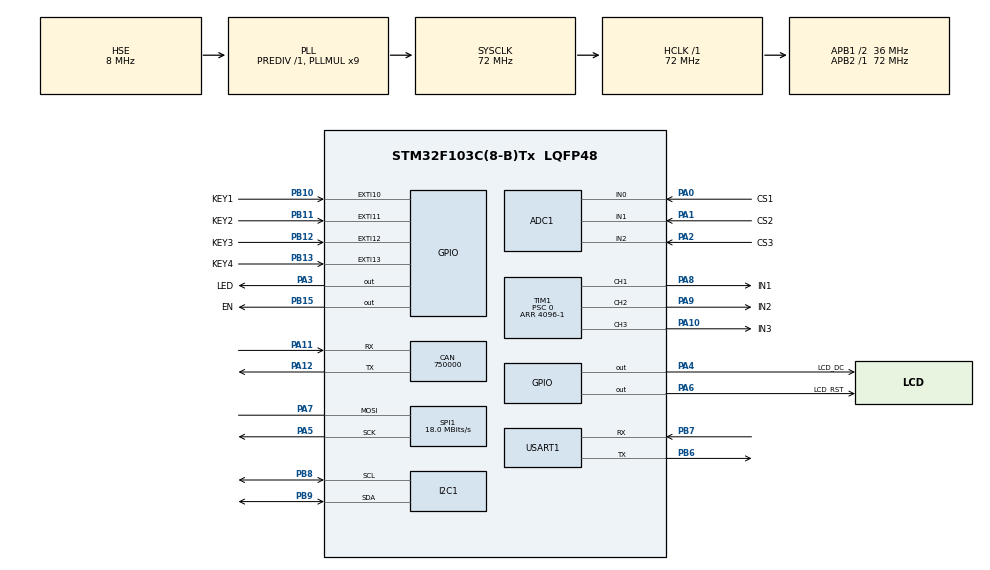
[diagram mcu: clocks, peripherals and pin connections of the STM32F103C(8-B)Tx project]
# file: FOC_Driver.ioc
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ADC1.Channel-0\#ChannelRegularConversion=ADC_CHANNEL_1
ADC1.NbrOfConversionFlag=1
ADC1.Rank-0\#ChannelRegularConversion=1
ADC1.SamplingTime-0\#ChannelRegularConversion=ADC_SAMPLETIME_1CYCLE_5
ADC1.master=1
CAN.CalculateBaudRate=750000
CAN.CalculateTimeBit=1333.33
CAN.CalculateTimeQuantum=444.44444444444446
Mcu.Family=STM32F1
Mcu.Name=STM32F103C(8-B)Tx
Mcu.Package=LQFP48
NVIC.PriorityGroup=NVIC_PRIORITYGROUP_4
PA0-WKUP.GPIO_Label=CS1
PA0-WKUP.Signal=ADCx_IN0
PA1.GPIO_Label=CS2
PA1.Signal=ADCx_IN1
PA10.GPIO_Label=IN3
PA10.Signal=S_TIM1_CH3
PA11.Mode=CAN_Activate
PA11.Signal=CAN_RX
PA12.Mode=CAN_Activate
PA12.Signal=CAN_TX
PA13.Mode=Serial_Wire
PA13.Signal=SYS_JTMS-SWDIO
PA14.Mode=Serial_Wire
PA14.Signal=SYS_JTCK-SWCLK
PA2.GPIO_Label=CS3
PA2.Signal=ADCx_IN2
PA3.GPIO_Label=LED
PA3.Signal=GPIO_Output
PA4.GPIO_Label=LCD_DC
PA4.Signal=GPIO_Output
PA5.Mode=Simplex_Bidirectional_Master
PA5.Signal=SPI1_SCK
PA6.GPIO_Label=LCD_RST
PA6.Signal=GPIO_Output
PA7.Mode=Simplex_Bidirectional_Master
PA7.Signal=SPI1_MOSI
PA8.GPIO_Label=IN1
PA8.Signal=S_TIM1_CH1
PA9.GPIO_Label=IN2
PA9.Signal=S_TIM1_CH2
PB10.GPIO_Label=KEY1
PB10.GPIO_ModeDefaultEXTI=GPIO_MODE_IT_FALLING
PB10.Signal=GPXTI10
PB11.GPIO_Label=KEY2
PB11.GPIO_ModeDefaultEXTI=GPIO_MODE_IT_FALLING
PB11.Signal=GPXTI11
PB12.GPIO_Label=KEY3
PB12.GPIO_ModeDefaultEXTI=GPIO_MODE_IT_FALLING
PB12.Signal=GPXTI12
PB13.GPIO_Label=KEY4
PB13.GPIO_ModeDefaultEXTI=GPIO_MODE_IT_FALLING
PB13.Signal=GPXTI13
PB15.GPIO_Label=EN
PB15.PinState=GPIO_PIN_SET
PB15.Signal=GPIO_Output
PB6.Mode=Asynchronous
PB6.Signal=USART1_TX
PB7.Mode=Asynchronous
PB7.Signal=USART1_RX
PB8.Mode=I2C
PB8.Signal=I2C1_SCL
PB9.Mode=I2C
PB9.Signal=I2C1_SDA
PD0-OSC_IN.Mode=HSE-External-Oscillator
PD0-OSC_IN.Signal=RCC_OSC_IN
PD1-OSC_OUT.Mode=HSE-External-Oscillator
PD1-OSC_OUT.Signal=RCC_OSC_OUT
ProjectManager.HeapSize=0x200
ProjectManager.StackSize=0x400
ProjectManager.TargetToolchain=SW4STM32
RCC.ADCPresc=RCC_ADCPCLK2_DIV6
RCC.AHBFreq_Value=72000000
RCC.APB1CLKDivider=RCC_HCLK_DIV2
RCC.APB1Freq_Value=36000000
RCC.APB1TimFreq_Value=72000000
RCC.APB2Freq_Value=72000000
RCC.APB2TimFreq_Value=72000000
RCC.HCLKFreq_Value=72000000
RCC.PLLMUL=RCC_PLL_MUL9
RCC.PLLSourceVirtual=RCC_PLLSOURCE_HSE
RCC.SYSCLKFreq_VALUE=72000000
RCC.SYSCLKSource=RCC_SYSCLKSOURCE_PLLCLK
RCC.USBFreq_Value=72000000
SH.ADCx_IN0.0=ADC1_IN0,IN0
SH.ADCx_IN1.0=ADC1_IN1,IN1
SH.ADCx_IN2.0=ADC1_IN2,IN2
SH.S_TIM1_CH1.0=TIM1_CH1,PWM Generation1 CH1
SH.S_TIM1_CH2.0=TIM1_CH2,PWM Generation2 CH2
SH.S_TIM1_CH3.0=TIM1_CH3,PWM Generation3 CH3
SPI1.BaudRatePrescaler=SPI_BAUDRATEPRESCALER_4
SPI1.CalculateBaudRate=18.0 MBits/s
SPI1.Direction=SPI_DIRECTION_1LINE
SPI1.Mode=SPI_MODE_MASTER
SPI1.VirtualType=VM_MASTER
TIM1.AutoReloadPreload=TIM_AUTORELOAD_PRELOAD_ENABLE
TIM1.Channel-PWM\ Generation1\ CH1=TIM_CHANNEL_1
TIM1.Channel-PWM\ Generation2\ CH2=TIM_CHANNEL_2
TIM1.Channel-PWM\ Generation3\ CH3=TIM_CHANNEL_3
TIM1.CounterMode=TIM_COUNTERMODE_CENTERALIGNED1
TIM1.Period=4096-1
TIM1.Prescaler=0
USART1.VirtualMode=VM_ASYNC
VP_TIM1_VS_ClockSourceINT.Mode=Internal
board=custom

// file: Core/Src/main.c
/* USER CODE BEGIN Header */
/**
  ******************************************************************************
  * @file           : main.c
  * @brief          : Main program body
  ******************************************************************************
  * @attention
  *
  * <h2><center>&copy; Copyright (c) 2022 STMicroelectronics.
  * All rights reserved.</center></h2>
  *
  * This software component is licensed by ST under BSD 3-Clause license,
  * the "License"; You may not use this file except in compliance with the
  * License. You may obtain a copy of the License at:
  *                        opensource.org/licenses/BSD-3-Clause
  *
  ******************************************************************************
  */
/* USER CODE END Header */
#include "main.h"
#include "adc.h"
#include "can.h"
#include "i2c.h"
#include "spi.h"
#include "tim.h"
#include "usart.h"
#include "gpio.h"

/* USER CODE BEGIN Includes */
#include <stdio.h>
#include <string.h>
#include <stdlib.h>

#include "FOC.h"
#include "FOC_utils.h"
#include "stm32_mcu.h"
#include "retarget.h"

#include "st7735.h"
#include "fonts.h"
#include "image.h"
/* USER CODE END Includes */

void SystemClock_Config(void);

int main(void)
{

  /* MCU Configuration--------------------------------------------------------*/

  /* Reset of all peripherals, Initializes the Flash interface and the Systick. */
  HAL_Init();

  /* Configure the system clock */
  SystemClock_Config();

  /* Initialize all configured peripherals */
  MX_GPIO_Init();
  MX_CAN_Init();
  MX_I2C1_Init();
  MX_USART1_UART_Init();
  MX_TIM1_Init();
  MX_ADC1_Init();
  MX_SPI1_Init();
  /* USER CODE BEGIN 2 */
    RetargetInit(&huart1);
    FOC_init();
    ST7735_Init();

    ST7735_FillScreen(ST7735_WHITE);
    ST7735_DrawImage(0, 0, ST7735_HEIGHT, ST7735_HEIGHT, (uint16_t*)head_portrait_80x80);
    ST7735_WriteString(80, 0, "ZHT", Font_11x18, ST7735_BLUE, ST7735_BLACK);
    ST7735_WriteString(80, 18, "Hello!", Font_11x18, ST7735_BLUE, ST7735_BLACK);

  /* USER CODE END 2 */

  /* Infinite loop */
  /* USER CODE BEGIN WHILE */
    while (1) {
        for (float angle = 0; angle < _2PI; angle += 0.05) {
            FOC_SVPWM(0, 2, angle);
            printf("Angle:%.2f\n", angle);

            char display_string[20];
            char display_number[10];
            strcpy(display_string, "Angle:");
//            strcat(display_string, itoa((int)angle, display_number, 10));
//            strcat(display_string, "\n");

//            ST7735_WriteString(80, 36, "123", Font_11x18, ST7735_BLUE, ST7735_BLACK);
            HAL_Delay(1);
        }
//        _writeDutyCycle3PWM(1, 0, 0);
//        HAL_Delay(500);
//        _writeDutyCycle3PWM(1, 1, 0);
//        HAL_Delay(500);
//        _writeDutyCycle3PWM(0, 1, 0);
//        HAL_Delay(500);
//        _writeDutyCycle3PWM(0, 1, 1);
//        HAL_Delay(500);
//        _writeDutyCycle3PWM(0, 0, 1);
//        HAL_Delay(500);
//        _writeDutyCycle3PWM(1, 0, 1);
//        HAL_Delay(500);
    /* USER CODE END WHILE */

    }
}

void SystemClock_Config(void)
{
  RCC_OscInitTypeDef RCC_OscInitStruct = {0};
  RCC_ClkInitTypeDef RCC_ClkInitStruct = {0};
  RCC_PeriphCLKInitTypeDef PeriphClkInit = {0};

  /** Initializes the RCC Oscillators according to the specified parameters
  * in the RCC_OscInitTypeDef structure.
  */
  RCC_OscInitStruct.OscillatorType = RCC_OSCILLATORTYPE_HSE;
  RCC_OscInitStruct.HSEState = RCC_HSE_ON;
  RCC_OscInitStruct.HSEPredivValue = RCC_HSE_PREDIV_DIV1;
  RCC_OscInitStruct.HSIState = RCC_HSI_ON;
  RCC_OscInitStruct.PLL.PLLState = RCC_PLL_ON;
  RCC_OscInitStruct.PLL.PLLSource = RCC_PLLSOURCE_HSE;
  RCC_OscInitStruct.PLL.PLLMUL = RCC_PLL_MUL9;
  if (HAL_RCC_OscConfig(&RCC_OscInitStruct) != HAL_OK)
  {
    Error_Handler();
  }
  /** Initializes the CPU, AHB and APB buses clocks
  */
  RCC_ClkInitStruct.ClockType = RCC_CLOCKTYPE_HCLK|RCC_CLOCKTYPE_SYSCLK
                              |RCC_CLOCKTYPE_PCLK1|RCC_CLOCKTYPE_PCLK2;
  RCC_ClkInitStruct.SYSCLKSource = RCC_SYSCLKSOURCE_PLLCLK;
  RCC_ClkInitStruct.AHBCLKDivider = RCC_SYSCLK_DIV1;
  RCC_ClkInitStruct.APB1CLKDivider = RCC_HCLK_DIV2;
  RCC_ClkInitStruct.APB2CLKDivider = RCC_HCLK_DIV1;

  if (HAL_RCC_ClockConfig(&RCC_ClkInitStruct, FLASH_LATENCY_2) != HAL_OK)
  {
    Error_Handler();
  }
  PeriphClkInit.PeriphClockSelection = RCC_PERIPHCLK_ADC;
  PeriphClkInit.AdcClockSelection = RCC_ADCPCLK2_DIV6;
  if (HAL_RCCEx_PeriphCLKConfig(&PeriphClkInit) != HAL_OK)
  {
    Error_Handler();
  }
}

void Error_Handler(void)
{
    __disable_irq();
    while (1) {
    }
}

/************************ (C) COPYRIGHT STMicroelectronics *****END OF FILE****/
